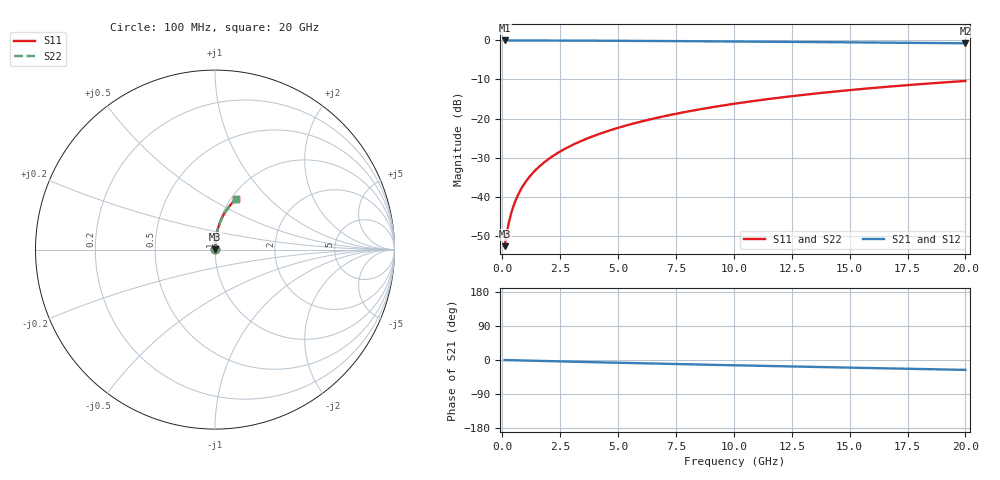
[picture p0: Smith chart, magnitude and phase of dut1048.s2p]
! Touchstone file exported from HFSS 2024.1.0
!  File:  C:/UserFiles/LocalFiles/RDL_TSV_Batchsim/temp_RDL_bottom_1048_1780051871.aedt
!  Generated:  06:53:49 PM May 29, 2026
!  Design:  RDL_bottom
!  Project:  temp_RDL_bottom_1048_1780051871
!  Setup:  Setup1
!  Solution:  Sweep
! Variables:
!  dtsv = 10.80580581um
!  hbump = 3um
!  htsv = 99.38um
!  ldown = 309.94um
!  lrdl = 100um
!  p = 40
!  p1 = 54.1um
!  rhole = 1um
!  t = 450um
!  tdown = 4.15um
!  trdl = 3.915915916um
!  wdown = 16.87um
!  wrdl = 20um
# GHz S MA R 50.000000
! Terminal data exported
! Port[1] = RDL1_T1
! Port[2] = RDL1_T2
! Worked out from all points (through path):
!   200 points, 100 MHz to 20 GHz, reference 50 ohm
!   highest |S21| = -0.01 dB at 100 MHz (marker M1); lowest = -0.7 dB at 20 GHz (marker M2)
!   group delay of S21, straight-line fit = 3.6 ps
!   lowest |S11| = -52.6 dB at 100 MHz (marker M3), VSWR 1.00, Z = 50.2 + j0.159 ohm
!   |S11| at or under -10 dB: start of sweep to end of sweep
!   |S22| runs from -52.6 to -10.4 dB; largest |S21 - S12| = 2.5e-15
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0.1  0.002334 42.7  0.9983 -0.2  0.9983 -0.2  0.002334 42.7
! Gamma 0 0 0 0
! Port Impedance 50 0 50 0
0.2  0.003537 61.1  0.9982 -0.3  0.9982 -0.3  0.003537 61.1
0.3  0.004931 69.5  0.9981 -0.5  0.9981 -0.5  0.00493 69.5
0.4  0.006388 74.1  0.9981 -0.6  0.9981 -0.6  0.006387 74.1
0.5  0.007871 76.9  0.998 -0.8  0.998 -0.8  0.00787 76.9
0.6  0.009366 78.7  0.9979 -0.9  0.9979 -0.9  0.009365 78.7
0.8  0.01237 81.0  0.9977 -1.2  0.9977 -1.2  0.01237 81.0
1.1  0.01688 82.8  0.9975 -1.6  0.9975 -1.6  0.01688 82.8
1.5  0.02289 84.0  0.997 -2.2  0.997 -2.2  0.02289 84.0
1.8  0.0274 84.5  0.9966 -2.7  0.9966 -2.7  0.0274 84.5
2.1  0.03191 84.7  0.9961 -3.1  0.9961 -3.1  0.03191 84.7
2.7  0.04097 85.0  0.9949 -4.0  0.9949 -4.0  0.04097 85.0
3.5  0.05312 84.9  0.993 -5.1  0.993 -5.1  0.05312 84.9
4.2  0.06383 84.7  0.991 -6.1  0.991 -6.1  0.06383 84.7
5  0.07617 84.2  0.9885 -7.3  0.9885 -7.3  0.07616 84.2
5.9  0.09014 83.6  0.9853 -8.5  0.9853 -8.5  0.09014 83.6
6.8  0.1042 82.8  0.9819 -9.7  0.9819 -9.7  0.1042 82.8
8.3  0.1277 81.4  0.9758 -11.7  0.9758 -11.7  0.1277 81.4
10.1  0.156 79.4  0.9679 -14.1  0.9679 -14.1  0.156 79.4
13.4  0.2072 75.5  0.9526 -18.2  0.9526 -18.2  0.2072 75.5
16.7  0.2564 71.5  0.9361 -22.2  0.9361 -22.2  0.2564 71.5
20  0.3029 67.5  0.9186 -26.1  0.9186 -26.1  0.3029 67.5
